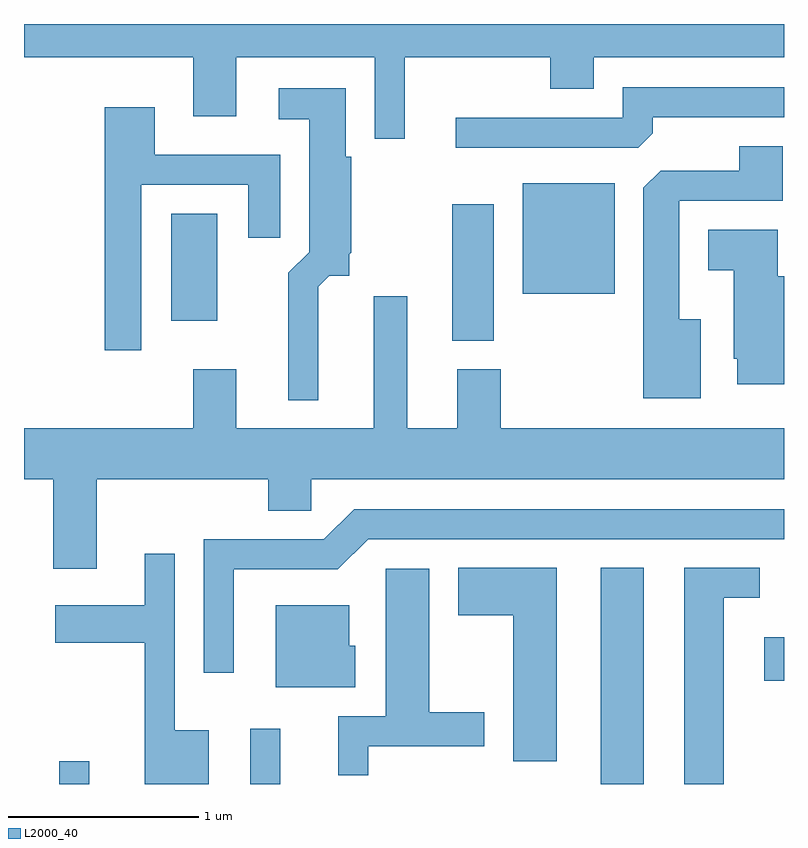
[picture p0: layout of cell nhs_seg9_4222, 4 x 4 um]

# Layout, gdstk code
import gdstk
lib = gdstk.Library(unit=1e-6, precision=1e-09)
def R(c, l, rs):  # rectangles x0, y0, x1, y1
    for r in rs: c.add(gdstk.rectangle(r[:2], r[2:], *l))
def P(c, l, *ps):  # polygons
    for p in ps: c.add(gdstk.Polygon(p, *l))
L2000_40 = (2000, 40)

nhs_seg9_4222 = lib.new_cell('nhs_seg9_4222')
R(nhs_seg9_4222, L2000_40, [(309.796,1992.432,309.954,1992.553), (310.801,1992.432,310.959,1992.723), (312.646,1992.432,312.874,1993.569), (313.506,1992.976,313.611,1993.204), (311.866,1994.766,312.084,1995.484), (310.386,1994.871,310.629,1995.434), (312.236,1995.011,312.719,1995.594)])
P(nhs_seg9_4222, L2000_40, [(311.614,1996.256),(312.381,1996.256),(312.381,1996.091),(312.609,1996.091),(312.609,1996.256),(313.611,1996.256),(313.611,1996.432),(309.611,1996.432),(309.611,1996.256),(310.501,1996.256),(310.501,1995.946),(310.729,1995.946),(310.729,1996.256),(311.456,1996.256),(311.456,1995.828),(311.614,1995.828)],
  [(312.919,1995.857),(312.919,1995.941),(313.611,1995.941),(313.611,1996.099),(312.761,1996.099),(312.761,1995.939),(311.883,1995.939),(311.883,1995.781),(312.844,1995.781)],
  [(311.159,1995.049),(311.217,1995.106),(311.324,1995.106),(311.324,1995.219),(311.334,1995.229),(311.334,1995.734),(311.304,1995.734),(311.304,1996.094),(310.953,1996.094),(310.953,1995.931),(311.111,1995.931),(311.111,1995.232),(311.001,1995.122),(311.001,1994.453),(311.159,1994.453)],
  [(310.229,1995.586),(310.791,1995.586),(310.791,1995.308),(310.959,1995.308),(310.959,1995.744),(310.299,1995.744),(310.299,1995.994),(310.036,1995.994),(310.036,1994.716),(310.229,1994.716)],
  [(313.174,1994.879),(313.059,1994.879),(313.059,1995.501),(313.604,1995.501),(313.604,1995.789),(313.376,1995.789),(313.376,1995.659),(312.962,1995.659),(312.871,1995.569),(312.871,1994.461),(313.174,1994.461)],
  [(313.611,1995.104),(313.579,1995.104),(313.579,1995.349),(313.211,1995.349),(313.211,1995.136),(313.346,1995.136),(313.346,1994.671),(313.366,1994.671),(313.366,1994.536),(313.611,1994.536)],
  [(309.994,1994.036),(310.896,1994.036),(310.896,1993.871),(311.124,1993.871),(311.124,1994.036),(313.611,1994.036),(313.611,1994.304),(312.119,1994.304),(312.119,1994.614),(311.891,1994.614),(311.891,1994.304),(311.629,1994.304),(311.629,1994.999),(311.451,1994.999),(311.451,1994.304),(310.729,1994.304),(310.729,1994.614),(310.501,1994.614),(310.501,1994.304),(309.611,1994.304),(309.611,1994.036),(309.766,1994.036),(309.766,1993.566),(309.994,1993.566)],
  [(310.714,1993.561),(311.262,1993.561),(311.422,1993.721),(313.611,1993.721),(313.611,1993.879),(311.349,1993.879),(311.189,1993.719),(310.556,1993.719),(310.556,1993.018),(310.714,1993.018)],
  [(310.584,1992.714),(310.404,1992.714),(310.404,1993.643),(310.246,1993.643),(310.246,1993.374),(309.776,1993.374),(309.776,1993.176),(310.246,1993.176),(310.246,1992.432),(310.584,1992.432)],
  [(313.294,1993.411),(313.483,1993.411),(313.483,1993.569),(313.086,1993.569),(313.086,1992.432),(313.294,1992.432)],
  [(312.414,1993.569),(311.896,1993.569),(311.896,1993.321),(312.186,1993.321),(312.186,1992.551),(312.414,1992.551)],
  [(311.424,1992.631),(312.034,1992.631),(312.034,1992.809),(311.744,1992.809),(311.744,1993.564),(311.516,1993.564),(311.516,1992.789),(311.266,1992.789),(311.266,1992.478),(311.424,1992.478)],
  [(311.354,1993.159),(311.324,1993.159),(311.324,1993.374),(310.936,1993.374),(310.936,1992.941),(311.354,1992.941)])

lib.write_gds('nhs_seg9_4222.gds')
